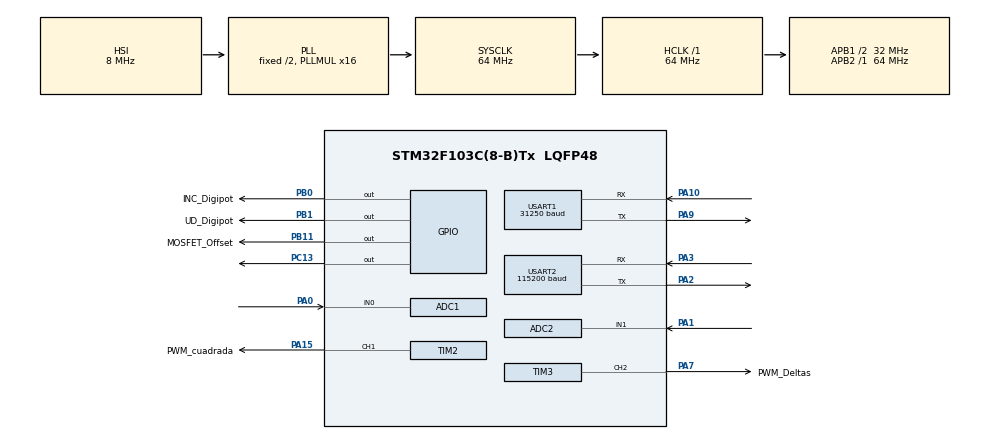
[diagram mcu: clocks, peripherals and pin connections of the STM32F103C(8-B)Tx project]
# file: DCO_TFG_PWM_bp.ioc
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ADC1.Channel-0\#ChannelRegularConversion=ADC_CHANNEL_0
ADC1.NbrOfConversionFlag=1
ADC1.Rank-0\#ChannelRegularConversion=1
ADC1.SamplingTime-0\#ChannelRegularConversion=ADC_SAMPLETIME_1CYCLE_5
ADC1.master=1
ADC2.Channel-11\#ChannelRegularConversion=ADC_CHANNEL_1
ADC2.NbrOfConversionFlag=1
ADC2.Rank-11\#ChannelRegularConversion=1
ADC2.SamplingTime-11\#ChannelRegularConversion=ADC_SAMPLETIME_1CYCLE_5
Mcu.Family=STM32F1
Mcu.Name=STM32F103C(8-B)Tx
Mcu.Package=LQFP48
NVIC.PriorityGroup=NVIC_PRIORITYGROUP_4
NVIC.TIM1_BRK_IRQn=true\:0\:0\:false\:false\:true\:true
NVIC.TIM1_CC_IRQn=true\:0\:0\:false\:false\:true\:true
NVIC.TIM1_TRG_COM_IRQn=true\:0\:0\:false\:false\:true\:true
NVIC.TIM1_UP_IRQn=true\:0\:0\:false\:false\:true\:true
NVIC.TIM4_IRQn=true\:0\:0\:false\:false\:true\:true
NVIC.USART1_IRQn=true\:0\:0\:false\:false\:true\:true
PA0-WKUP.Signal=ADCx_IN0
PA1.Signal=ADCx_IN1
PA10.Mode=Asynchronous
PA10.Signal=USART1_RX
PA13.Mode=Serial_Wire
PA13.Signal=SYS_JTMS-SWDIO
PA14.Mode=Serial_Wire
PA14.Signal=SYS_JTCK-SWCLK
PA15.GPIO_Label=PWM_cuadrada
PA15.Signal=S_TIM2_CH1_ETR
PA2.Mode=Asynchronous
PA2.Signal=USART2_TX
PA3.Mode=Asynchronous
PA3.Signal=USART2_RX
PA7.GPIO_Label=PWM_Deltas
PA7.Signal=S_TIM3_CH2
PA9.Mode=Asynchronous
PA9.Signal=USART1_TX
PB0.GPIO_Label=INC_Digipot
PB0.PinState=GPIO_PIN_SET
PB0.Signal=GPIO_Output
PB1.GPIO_Label=UD_Digipot
PB1.Signal=GPIO_Output
PB11.GPIO_Label=MOSFET_Offset
PB11.PinState=GPIO_PIN_SET
PB11.Signal=GPIO_Output
PC13-TAMPER-RTC.Signal=GPIO_Output
ProjectManager.HeapSize=0x200
ProjectManager.StackSize=0x400
ProjectManager.TargetToolchain=TrueSTUDIO
RCC.ADCPresc=RCC_ADCPCLK2_DIV6
RCC.AHBFreq_Value=64000000
RCC.APB1CLKDivider=RCC_HCLK_DIV2
RCC.APB1Freq_Value=32000000
RCC.APB1TimFreq_Value=64000000
RCC.APB2Freq_Value=64000000
RCC.APB2TimFreq_Value=64000000
RCC.HCLKFreq_Value=64000000
RCC.PLLMUL=RCC_PLL_MUL16
RCC.SYSCLKFreq_VALUE=64000000
RCC.SYSCLKSource=RCC_SYSCLKSOURCE_PLLCLK
RCC.USBFreq_Value=64000000
SH.ADCx_IN0.0=ADC1_IN0,IN0
SH.ADCx_IN1.0=ADC2_IN1,IN1
SH.S_TIM2_CH1_ETR.0=TIM2_CH1,PWM Generation1 CH1
SH.S_TIM3_CH2.0=TIM3_CH2,PWM Generation2 CH2
TIM1.Period=9
TIM1.Prescaler=31
TIM2.Channel-PWM\ Generation1\ CH1=TIM_CHANNEL_1
TIM2.Period=7272
TIM2.Prescaler=319
TIM2.Pulse-PWM\ Generation1\ CH1=4000
TIM3.Channel-PWM\ Generation2\ CH2=TIM_CHANNEL_2
TIM3.Period=7272
TIM3.Prescaler=319
TIM3.Pulse-PWM\ Generation2\ CH2=4000
TIM4.Period=49
TIM4.Prescaler=31999
USART1.BaudRate=31250
USART1.VirtualMode=VM_ASYNC
USART2.BaudRate=115200
USART2.Mode=MODE_TX_RX
USART2.VirtualMode=VM_ASYNC
VP_TIM1_VS_ClockSourceINT.Mode=Internal
VP_TIM2_VS_ClockSourceINT.Mode=Internal
VP_TIM3_VS_ClockSourceINT.Mode=Internal
VP_TIM4_VS_ClockSourceINT.Mode=Internal
board=custom

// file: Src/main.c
/* USER CODE BEGIN Header */
/**
  ******************************************************************************
  * @file           : main.c
  * @brief          : Main program body
  ******************************************************************************
  ** This notice applies to any and all portions of this file
  * that are not between comment pairs USER CODE BEGIN and
  * USER CODE END. Other portions of this file, whether
  * inserted by the user or by software development tools
  * are owned by their respective copyright owners.
  *
  * COPYRIGHT(c) 2019 STMicroelectronics
  *
  * Redistribution and use in source and binary forms, with or without modification,
  * are permitted provided that the following conditions are met:
  *   1. Redistributions of source code must retain the above copyright notice,
  *      this list of conditions and the following disclaimer.
  *   2. Redistributions in binary form must reproduce the above copyright notice,
  *      this list of conditions and the following disclaimer in the documentation
  *      and/or other materials provided with the distribution.
  *   3. Neither the name of STMicroelectronics nor the names of its contributors
  *      may be used to endorse or promote products derived from this software
  *      without specific prior written permission.
  *
  * THIS SOFTWARE IS PROVIDED BY THE COPYRIGHT HOLDERS AND CONTRIBUTORS "AS IS"
  * AND ANY EXPRESS OR IMPLIED WARRANTIES, INCLUDING, BUT NOT LIMITED TO, THE
  * IMPLIED WARRANTIES OF MERCHANTABILITY AND FITNESS FOR A PARTICULAR PURPOSE ARE
  * DISCLAIMED. IN NO EVENT SHALL THE COPYRIGHT HOLDER OR CONTRIBUTORS BE LIABLE
  * FOR ANY DIRECT, INDIRECT, INCIDENTAL, SPECIAL, EXEMPLARY, OR CONSEQUENTIAL
  * DAMAGES (INCLUDING, BUT NOT LIMITED TO, PROCUREMENT OF SUBSTITUTE GOODS OR
  * SERVICES; LOSS OF USE, DATA, OR PROFITS; OR BUSINESS INTERRUPTION) HOWEVER
  * CAUSED AND ON ANY THEORY OF LIABILITY, WHETHER IN CONTRACT, STRICT LIABILITY,
  * OR TORT (INCLUDING NEGLIGENCE OR OTHERWISE) ARISING IN ANY WAY OUT OF THE USE
  * OF THIS SOFTWARE, EVEN IF ADVISED OF THE POSSIBILITY OF SUCH DAMAGE.
  *
  ******************************************************************************
  */
/* USER CODE END Header */

#include "main.h"

/* USER CODE BEGIN Includes */
#include "math.h"
#include "print_UART.h"

/* USER CODE END Includes */

/* USER CODE BEGIN PD */
#define F_CLK 64000000
/* USER CODE END PD */

ADC_HandleTypeDef hadc1;
ADC_HandleTypeDef hadc2;

TIM_HandleTypeDef htim1;
TIM_HandleTypeDef htim2;
TIM_HandleTypeDef htim3;
TIM_HandleTypeDef htim4;

UART_HandleTypeDef huart1;
UART_HandleTypeDef huart2;

/* USER CODE BEGIN PV */
static uint16_t timers_notas[89];
uint8_t mensaje_MIDI[3];

// Modulacion en DC y freq
uint8_t nota_actual = 0;
float intensity_dc = 0;
float intensity_freq = 0;

// Resistencias digitales
uint8_t cuenta = 0;
int steps = 0;
/* USER CODE END PV */

void SystemClock_Config(void);
static void MX_GPIO_Init(void);
static void MX_USART1_UART_Init(void);
static void MX_TIM2_Init(void);
static void MX_USART2_UART_Init(void);
static void MX_TIM3_Init(void);
static void MX_TIM4_Init(void);
static void MX_ADC1_Init(void);
static void MX_ADC2_Init(void);
static void MX_TIM1_Init(void);
/* USER CODE BEGIN PFP */
void calculo_notas(void);
void start_nota(uint8_t nota);
void stop_nota(void);

uint16_t check_ADC(ADC_HandleTypeDef* hadc);

// Resistencias digitales
void init_resistencia();
void resistencia(uint8_t valor);
/* USER CODE END PFP */

int main(void)
{

  /* MCU Configuration--------------------------------------------------------*/

  /* Reset of all peripherals, Initializes the Flash interface and the Systick. */
  HAL_Init();

  /* Configure the system clock */
  SystemClock_Config();

  /* Initialize all configured peripherals */
  MX_GPIO_Init();
  MX_USART1_UART_Init();
  MX_TIM2_Init();
  MX_USART2_UART_Init();
  MX_TIM3_Init();
  MX_TIM4_Init();
  MX_ADC1_Init();
  MX_ADC2_Init();
  MX_TIM1_Init();
  /* USER CODE BEGIN 2 */

  // Calibrado de los ADC
  HAL_ADCEx_Calibration_Start(&hadc1);
  HAL_ADCEx_Calibration_Start(&hadc2);

  init_resistencia();

  calculo_notas();
  __HAL_UART_ENABLE_IT(&huart1, UART_IT_RXNE);

//   for(uint8_t i=1; i<89;i++){
//   start_nota(i);
//   HAL_Delay(800);
//   }
//  start_nota(30);

  start_nota(15);
  HAL_Delay(100);
  resistencia(100);
  /* USER CODE END 2 */

  /* Infinite loop */
  /* USER CODE BEGIN WHILE */
  while (1)
  {

//	  HAL_Delay(1000);
//	  stop_nota();
//	  HAL_Delay(1000);
    /* USER CODE END WHILE */

  }
}

void SystemClock_Config(void)
{
  RCC_OscInitTypeDef RCC_OscInitStruct = {0};
  RCC_ClkInitTypeDef RCC_ClkInitStruct = {0};
  RCC_PeriphCLKInitTypeDef PeriphClkInit = {0};

  /**Initializes the CPU, AHB and APB busses clocks
  */
  RCC_OscInitStruct.OscillatorType = RCC_OSCILLATORTYPE_HSI;
  RCC_OscInitStruct.HSIState = RCC_HSI_ON;
  RCC_OscInitStruct.HSICalibrationValue = RCC_HSICALIBRATION_DEFAULT;
  RCC_OscInitStruct.PLL.PLLState = RCC_PLL_ON;
  RCC_OscInitStruct.PLL.PLLSource = RCC_PLLSOURCE_HSI_DIV2;
  RCC_OscInitStruct.PLL.PLLMUL = RCC_PLL_MUL16;
  if (HAL_RCC_OscConfig(&RCC_OscInitStruct) != HAL_OK)
  {
    Error_Handler();
  }
  /**Initializes the CPU, AHB and APB busses clocks
  */
  RCC_ClkInitStruct.ClockType = RCC_CLOCKTYPE_HCLK|RCC_CLOCKTYPE_SYSCLK
                              |RCC_CLOCKTYPE_PCLK1|RCC_CLOCKTYPE_PCLK2;
  RCC_ClkInitStruct.SYSCLKSource = RCC_SYSCLKSOURCE_PLLCLK;
  RCC_ClkInitStruct.AHBCLKDivider = RCC_SYSCLK_DIV1;
  RCC_ClkInitStruct.APB1CLKDivider = RCC_HCLK_DIV2;
  RCC_ClkInitStruct.APB2CLKDivider = RCC_HCLK_DIV1;

  if (HAL_RCC_ClockConfig(&RCC_ClkInitStruct, FLASH_LATENCY_2) != HAL_OK)
  {
    Error_Handler();
  }
  PeriphClkInit.PeriphClockSelection = RCC_PERIPHCLK_ADC;
  PeriphClkInit.AdcClockSelection = RCC_ADCPCLK2_DIV6;
  if (HAL_RCCEx_PeriphCLKConfig(&PeriphClkInit) != HAL_OK)
  {
    Error_Handler();
  }
}

static void MX_ADC1_Init(void)
{

  ADC_ChannelConfTypeDef sConfig = {0};

  /**Common config
  */
  hadc1.Instance = ADC1;
  hadc1.Init.ScanConvMode = ADC_SCAN_DISABLE;
  hadc1.Init.ContinuousConvMode = DISABLE;
  hadc1.Init.DiscontinuousConvMode = DISABLE;
  hadc1.Init.ExternalTrigConv = ADC_SOFTWARE_START;
  hadc1.Init.DataAlign = ADC_DATAALIGN_RIGHT;
  hadc1.Init.NbrOfConversion = 1;
  if (HAL_ADC_Init(&hadc1) != HAL_OK)
  {
    Error_Handler();
  }
  /**Configure Regular Channel
  */
  sConfig.Channel = ADC_CHANNEL_0;
  sConfig.Rank = ADC_REGULAR_RANK_1;
  sConfig.SamplingTime = ADC_SAMPLETIME_1CYCLE_5;
  if (HAL_ADC_ConfigChannel(&hadc1, &sConfig) != HAL_OK)
  {
    Error_Handler();
  }

}

static void MX_ADC2_Init(void)
{

  ADC_ChannelConfTypeDef sConfig = {0};

  /**Common config
  */
  hadc2.Instance = ADC2;
  hadc2.Init.ScanConvMode = ADC_SCAN_DISABLE;
  hadc2.Init.ContinuousConvMode = DISABLE;
  hadc2.Init.DiscontinuousConvMode = DISABLE;
  hadc2.Init.ExternalTrigConv = ADC_SOFTWARE_START;
  hadc2.Init.DataAlign = ADC_DATAALIGN_RIGHT;
  hadc2.Init.NbrOfConversion = 1;
  if (HAL_ADC_Init(&hadc2) != HAL_OK)
  {
    Error_Handler();
  }
  /**Configure Regular Channel
  */
  sConfig.Channel = ADC_CHANNEL_1;
  sConfig.Rank = ADC_REGULAR_RANK_1;
  sConfig.SamplingTime = ADC_SAMPLETIME_1CYCLE_5;
  if (HAL_ADC_ConfigChannel(&hadc2, &sConfig) != HAL_OK)
  {
    Error_Handler();
  }

}

static void MX_TIM1_Init(void)
{

  TIM_ClockConfigTypeDef sClockSourceConfig = {0};
  TIM_MasterConfigTypeDef sMasterConfig = {0};

  htim1.Instance = TIM1;
  htim1.Init.Prescaler = 31;
  htim1.Init.CounterMode = TIM_COUNTERMODE_UP;
  htim1.Init.Period = 9;
  htim1.Init.ClockDivision = TIM_CLOCKDIVISION_DIV1;
  htim1.Init.RepetitionCounter = 0;
  htim1.Init.AutoReloadPreload = TIM_AUTORELOAD_PRELOAD_DISABLE;
  if (HAL_TIM_Base_Init(&htim1) != HAL_OK)
  {
    Error_Handler();
  }
  sClockSourceConfig.ClockSource = TIM_CLOCKSOURCE_INTERNAL;
  if (HAL_TIM_ConfigClockSource(&htim1, &sClockSourceConfig) != HAL_OK)
  {
    Error_Handler();
  }
  sMasterConfig.MasterOutputTrigger = TIM_TRGO_RESET;
  sMasterConfig.MasterSlaveMode = TIM_MASTERSLAVEMODE_DISABLE;
  if (HAL_TIMEx_MasterConfigSynchronization(&htim1, &sMasterConfig) != HAL_OK)
  {
    Error_Handler();
  }

}

static void MX_TIM2_Init(void)
{

  TIM_ClockConfigTypeDef sClockSourceConfig = {0};
  TIM_MasterConfigTypeDef sMasterConfig = {0};
  TIM_OC_InitTypeDef sConfigOC = {0};

  htim2.Instance = TIM2;
  htim2.Init.Prescaler = 319;
  htim2.Init.CounterMode = TIM_COUNTERMODE_UP;
  htim2.Init.Period = 7272;
  htim2.Init.ClockDivision = TIM_CLOCKDIVISION_DIV1;
  htim2.Init.AutoReloadPreload = TIM_AUTORELOAD_PRELOAD_DISABLE;
  if (HAL_TIM_Base_Init(&htim2) != HAL_OK)
  {
    Error_Handler();
  }
  sClockSourceConfig.ClockSource = TIM_CLOCKSOURCE_INTERNAL;
  if (HAL_TIM_ConfigClockSource(&htim2, &sClockSourceConfig) != HAL_OK)
  {
    Error_Handler();
  }
  if (HAL_TIM_PWM_Init(&htim2) != HAL_OK)
  {
    Error_Handler();
  }
  sMasterConfig.MasterOutputTrigger = TIM_TRGO_RESET;
  sMasterConfig.MasterSlaveMode = TIM_MASTERSLAVEMODE_DISABLE;
  if (HAL_TIMEx_MasterConfigSynchronization(&htim2, &sMasterConfig) != HAL_OK)
  {
    Error_Handler();
  }
  sConfigOC.OCMode = TIM_OCMODE_PWM1;
  sConfigOC.Pulse = 4000;
  sConfigOC.OCPolarity = TIM_OCPOLARITY_HIGH;
  sConfigOC.OCFastMode = TIM_OCFAST_DISABLE;
  if (HAL_TIM_PWM_ConfigChannel(&htim2, &sConfigOC, TIM_CHANNEL_1) != HAL_OK)
  {
    Error_Handler();
  }
  HAL_TIM_MspPostInit(&htim2);

}

static void MX_TIM3_Init(void)
{

  TIM_ClockConfigTypeDef sClockSourceConfig = {0};
  TIM_MasterConfigTypeDef sMasterConfig = {0};
  TIM_OC_InitTypeDef sConfigOC = {0};

  htim3.Instance = TIM3;
  htim3.Init.Prescaler = 319;
  htim3.Init.CounterMode = TIM_COUNTERMODE_UP;
  htim3.Init.Period = 7272;
  htim3.Init.ClockDivision = TIM_CLOCKDIVISION_DIV1;
  htim3.Init.AutoReloadPreload = TIM_AUTORELOAD_PRELOAD_DISABLE;
  if (HAL_TIM_Base_Init(&htim3) != HAL_OK)
  {
    Error_Handler();
  }
  sClockSourceConfig.ClockSource = TIM_CLOCKSOURCE_INTERNAL;
  if (HAL_TIM_ConfigClockSource(&htim3, &sClockSourceConfig) != HAL_OK)
  {
    Error_Handler();
  }
  if (HAL_TIM_PWM_Init(&htim3) != HAL_OK)
  {
    Error_Handler();
  }
  sMasterConfig.MasterOutputTrigger = TIM_TRGO_RESET;
  sMasterConfig.MasterSlaveMode = TIM_MASTERSLAVEMODE_DISABLE;
  if (HAL_TIMEx_MasterConfigSynchronization(&htim3, &sMasterConfig) != HAL_OK)
  {
    Error_Handler();
  }
  sConfigOC.OCMode = TIM_OCMODE_PWM1;
  sConfigOC.Pulse = 4000;
  sConfigOC.OCPolarity = TIM_OCPOLARITY_HIGH;
  sConfigOC.OCFastMode = TIM_OCFAST_DISABLE;
  if (HAL_TIM_PWM_ConfigChannel(&htim3, &sConfigOC, TIM_CHANNEL_2) != HAL_OK)
  {
    Error_Handler();
  }
  HAL_TIM_MspPostInit(&htim3);

}

static void MX_TIM4_Init(void)
{

  TIM_ClockConfigTypeDef sClockSourceConfig = {0};
  TIM_MasterConfigTypeDef sMasterConfig = {0};

  htim4.Instance = TIM4;
  htim4.Init.Prescaler = 31999;
  htim4.Init.CounterMode = TIM_COUNTERMODE_UP;
  htim4.Init.Period = 49;
  htim4.Init.ClockDivision = TIM_CLOCKDIVISION_DIV1;
  htim4.Init.AutoReloadPreload = TIM_AUTORELOAD_PRELOAD_DISABLE;
  if (HAL_TIM_Base_Init(&htim4) != HAL_OK)
  {
    Error_Handler();
  }
  sClockSourceConfig.ClockSource = TIM_CLOCKSOURCE_INTERNAL;
  if (HAL_TIM_ConfigClockSource(&htim4, &sClockSourceConfig) != HAL_OK)
  {
    Error_Handler();
  }
  sMasterConfig.MasterOutputTrigger = TIM_TRGO_RESET;
  sMasterConfig.MasterSlaveMode = TIM_MASTERSLAVEMODE_DISABLE;
  if (HAL_TIMEx_MasterConfigSynchronization(&htim4, &sMasterConfig) != HAL_OK)
  {
    Error_Handler();
  }

}

static void MX_USART1_UART_Init(void)
{

  huart1.Instance = USART1;
  huart1.Init.BaudRate = 31250;
  huart1.Init.WordLength = UART_WORDLENGTH_8B;
  huart1.Init.StopBits = UART_STOPBITS_1;
  huart1.Init.Parity = UART_PARITY_NONE;
  huart1.Init.Mode = UART_MODE_TX_RX;
  huart1.Init.HwFlowCtl = UART_HWCONTROL_NONE;
  huart1.Init.OverSampling = UART_OVERSAMPLING_16;
  if (HAL_UART_Init(&huart1) != HAL_OK)
  {
    Error_Handler();
  }

}

static void MX_USART2_UART_Init(void)
{

  huart2.Instance = USART2;
  huart2.Init.BaudRate = 115200;
  huart2.Init.WordLength = UART_WORDLENGTH_8B;
  huart2.Init.StopBits = UART_STOPBITS_1;
  huart2.Init.Parity = UART_PARITY_NONE;
  huart2.Init.Mode = UART_MODE_TX_RX;
  huart2.Init.HwFlowCtl = UART_HWCONTROL_NONE;
  huart2.Init.OverSampling = UART_OVERSAMPLING_16;
  if (HAL_UART_Init(&huart2) != HAL_OK)
  {
    Error_Handler();
  }

}

static void MX_GPIO_Init(void)
{
  GPIO_InitTypeDef GPIO_InitStruct = {0};

  /* GPIO Ports Clock Enable */
  __HAL_RCC_GPIOC_CLK_ENABLE();
  __HAL_RCC_GPIOA_CLK_ENABLE();
  __HAL_RCC_GPIOB_CLK_ENABLE();

  /*Configure GPIO pin Output Level */
  HAL_GPIO_WritePin(GPIOC, GPIO_PIN_13, GPIO_PIN_RESET);

  /*Configure GPIO pin Output Level */
  HAL_GPIO_WritePin(GPIOB, INC_Digipot_Pin|MOSFET_Offset_Pin, GPIO_PIN_SET);

  /*Configure GPIO pin Output Level */
  HAL_GPIO_WritePin(UD_Digipot_GPIO_Port, UD_Digipot_Pin, GPIO_PIN_RESET);

  /*Configure GPIO pin : PC13 */
  GPIO_InitStruct.Pin = GPIO_PIN_13;
  GPIO_InitStruct.Mode = GPIO_MODE_OUTPUT_PP;
  GPIO_InitStruct.Pull = GPIO_NOPULL;
  GPIO_InitStruct.Speed = GPIO_SPEED_FREQ_LOW;
  HAL_GPIO_Init(GPIOC, &GPIO_InitStruct);

  /*Configure GPIO pins : INC_Digipot_Pin UD_Digipot_Pin MOSFET_Offset_Pin */
  GPIO_InitStruct.Pin = INC_Digipot_Pin|UD_Digipot_Pin|MOSFET_Offset_Pin;
  GPIO_InitStruct.Mode = GPIO_MODE_OUTPUT_PP;
  GPIO_InitStruct.Pull = GPIO_NOPULL;
  GPIO_InitStruct.Speed = GPIO_SPEED_FREQ_LOW;
  HAL_GPIO_Init(GPIOB, &GPIO_InitStruct);

}

/* USER CODE BEGIN 4 */
// Calcula las frecuencias de todas las notas y sus periodos del timer
void calculo_notas(void){
	for (uint8_t i=1;i<89;i++){
		float f_nota = 27.50 * pow(1.059463094, i-1);
		timers_notas[i] = round(F_CLK/320/f_nota);
	}
}

// Crea la PWM correspondiente a la nota
void start_nota(uint8_t nota){
	nota_actual = nota;

	HAL_GPIO_WritePin(GPIOB, GPIO_PIN_11, 0); // Cortamos el MOSFET para que el offset sea Voff, se resta el offset a la salida

	__HAL_TIM_SET_AUTORELOAD(&htim2, timers_notas[nota]-1); // Ajustamos el timer adecuado
	__HAL_TIM_SET_COMPARE(&htim2, TIM_CHANNEL_1, htim2.Init.Period - (timers_notas[nota]-1)/2); //Ajustamos el duty cycle a 1/2, se controlará externamente con un ADC
	HAL_TIM_PWM_Start(&htim2, TIM_CHANNEL_1);

	__HAL_TIM_SET_AUTORELOAD(&htim3, timers_notas[nota]-1); // Ajustamos el timer adecuado
	__HAL_TIM_SET_COMPARE(&htim3, TIM_CHANNEL_2, (timers_notas[nota]-1)/20); //Ajustamos el duty cycle a 1/20 (5%)
	HAL_TIM_PWM_Start(&htim3, TIM_CHANNEL_2);

	HAL_TIM_Base_Start_IT(&htim4); // Arrancamos timer del modulador
}

void stop_nota(void) {
	HAL_GPIO_WritePin(GPIOB, GPIO_PIN_11, 1); // Activamos el MOSFET para que el offset sea 0V, la salida sale a 0V
	HAL_TIM_PWM_Stop(&htim2, TIM_CHANNEL_1);
	HAL_TIM_PWM_Stop(&htim3, TIM_CHANNEL_2);
	HAL_TIM_Base_Stop_IT(&htim4); // Paramos timer del modulador
}

void init_resistencia(){
	steps = 200;
	HAL_GPIO_WritePin(GPIOB,GPIO_PIN_1, 0);
	HAL_TIM_Base_Start_IT(&htim1);
}

void resistencia(uint8_t valor){
	static int resist = 0;
	steps = 2*(valor - resist);

	if (steps < 0){
		HAL_GPIO_WritePin(GPIOB,GPIO_PIN_1, 0);
		steps = -steps;
	}
	else {
		HAL_GPIO_WritePin(GPIOB,GPIO_PIN_1, 1);
	}
	 HAL_TIM_Base_Start_IT(&htim1);
	 resist = valor;

}

// Atencion a la interrupción de la UART1, cuando se recibe un mensaje MIDI salta la interrupcion
void HAL_UART_RxCpltCallback(UART_HandleTypeDef *huart) {

	// Trasmitimos los bytes recibidos por la UART2, por pantalla
//	for(uint8_t i=0;i<sizeof(mensaje_MIDI);i++){
//		tx_UART_byte(&huart2, mensaje_MIDI[i], 10);
//	}
	// Analizamos el primer byte recibido. Si empieza por 1001, start nota
	if ((mensaje_MIDI[0]>>4) == 0b1001){
		uint8_t nota = mensaje_MIDI[1]-20; // Obtenemos la nota MIDI, le restamos 20 para que coincida con nuestro teclado
		start_nota(nota);
	}
	else {	// Si no empieza por 1001, es un stop nota
		stop_nota();
	}
	__HAL_UART_ENABLE_IT(&huart1, UART_IT_RXNE); // Volvemos a activar las interrupciones de la UART1

}

void HAL_TIM_PeriodElapsedCallback(TIM_HandleTypeDef *htim){
	if(htim==&htim4){

		float data_adc_dc = check_ADC(&hadc1);
		float data_adc_freq = check_ADC(&hadc2);
		float periodo_mod = (timers_notas[nota_actual]-1)*(1 - (intensity_freq/500)*(data_adc_freq-2048)/2048);
		float duty_cycle_mod = periodo_mod*(0.5 + (intensity_dc/100)*(data_adc_dc-2048)/4095);

		__HAL_TIM_SET_AUTORELOAD(&htim2, periodo_mod); 					// Periodo de la señal cuadrada
		__HAL_TIM_SET_COMPARE(&htim2, TIM_CHANNEL_1, duty_cycle_mod);   // Duty cycle de la señal cuadrada

		__HAL_TIM_SET_AUTORELOAD(&htim3, periodo_mod); 					// Periodo del tren de deltas
		__HAL_TIM_SET_COMPARE(&htim3, TIM_CHANNEL_2, periodo_mod/20);	// Duty cycle del tren de deltas (siempre 1/20)
	}

	if (htim == &htim1){
			HAL_GPIO_TogglePin(GPIOB, GPIO_PIN_0);
			cuenta++;
			if (cuenta >= steps){
				cuenta = 0;
				HAL_TIM_Base_Stop_IT(&htim1);

			}
		}
}

uint16_t check_ADC(ADC_HandleTypeDef* hadc){
	HAL_ADC_Start(hadc);
	HAL_ADC_PollForConversion(hadc, 1000);
	uint16_t data_adc = HAL_ADC_GetValue(hadc);
	HAL_ADC_Stop(hadc);
	return data_adc;
}

/* USER CODE END 4 */

void Error_Handler(void)
{
}

/************************ (C) COPYRIGHT STMicroelectronics *****END OF FILE****/
